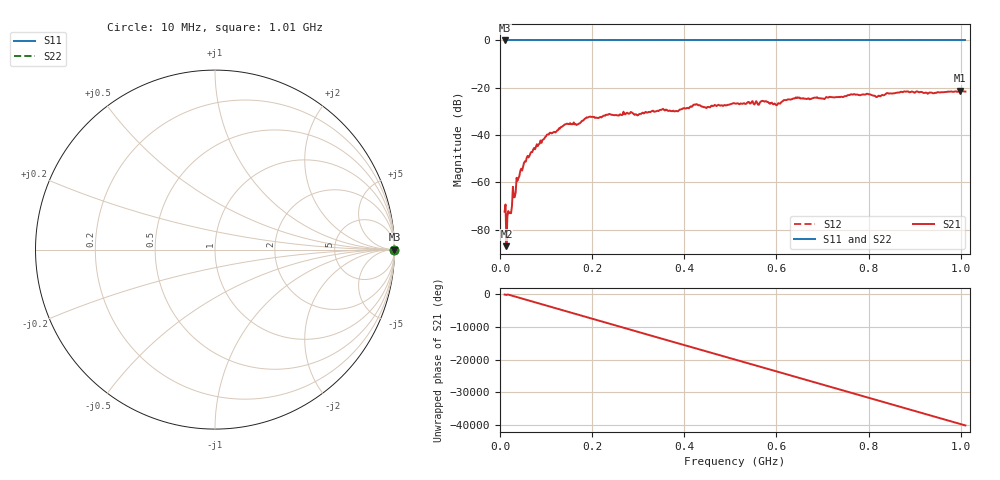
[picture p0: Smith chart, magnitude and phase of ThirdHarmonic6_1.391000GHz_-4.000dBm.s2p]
! 8/16/2025 3:51:03 PM
! C:\ANRITSUVNA\TEMP\TEMP.S2P
! CHANNEL.1
! TR.MEASUREMENT
! RAW.DATA
! RF.CORRECTION.OFF
! AVERAGING.OFF
! IF.BANDWIDTH: 5KHZ
! SWEEPTYPE:  FREQ.SWEEP(Linear)
! Reference Plane Port Info
! PORT:  PORT1  PORT2
! DISTANCE:  0  m  0  m
! TIME:  0  s  0  s
! PHASE.OFFSET:  0  deg.  0  deg.
! LOSS:  0  dB  0  dB
! REF.LOSS:  0  dB  0  dB
! REF.FREQ:  0  Hz  0  Hz
! Power Info
! POWER:  -20  dBm  -20  dBm
! EFF.POWER:  -20  dBm  -20  dBm
! SOURCE.ATTEN:  0  dB  0  dB
! TEST.ATTEN:  0  dB  0  dB
# GHZ S RI R 50.0
! FREQ.GHZ  S11RE  S11IM  S21RE  S21IM  S12RE  S12IM  S22RE  S22IM
!; PortSelection: Port_12
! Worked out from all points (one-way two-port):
!   501 points, 10 MHz to 1.01 GHz, reference 50 ohm
!   highest |S21| = -21.15 dB at 998 MHz (marker M1); lowest = -86.9 dB at 14 MHz (marker M2)
!   lowest |S11| = 0.0 dB at 10 MHz (marker M3)
!   |S11| at or under -10 dB: nowhere
!   |S22| runs from 0.0 to 0.0 dB; largest |S21 - S12| = 1.1
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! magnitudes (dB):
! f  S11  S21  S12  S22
! 10 MHz  0.0  -72.3  0.0  0.0
! 14 MHz  0.0  -86.9  0.0  0.0
! 18 MHz  0.0  -72.1  0.0  0.0
! 22 MHz  0.0  -72.8  0.0  0.0
! 40 MHz  0.0  -58.2  0.0  0.0
! 48 MHz  0.0  -55.0  0.0  0.0
! 76 MHz  0.0  -46.0  0.0  0.0
! 104 MHz  0.0  -39.7  0.0  0.0
! 142 MHz  0.0  -35.4  0.0  0.0
! 178 MHz  0.0  -34.0  0.0  0.0
! 192 MHz  0.0  -32.4  0.0  0.0
! 344 MHz  0.0  -29.9  0.0  0.0
! 382 MHz  0.0  -29.8  0.0  0.0
! 424 MHz  0.0  -27.2  0.0  0.0
! 510 MHz  0.0  -26.6  0.0  0.0
! 572 MHz  0.0  -25.7  0.0  0.0
! 598 MHz  0.0  -27.0  0.0  0.0
! 642 MHz  0.0  -24.1  0.0  0.0
! 678 MHz  0.0  -24.4  0.0  0.0
! 844 MHz  0.0  -22.5  0.0  0.0
! 998 MHz  0.0  -21.2  0.0  0.0
! 1.01 GHz  0.0  -21.6  0.0  0.0
